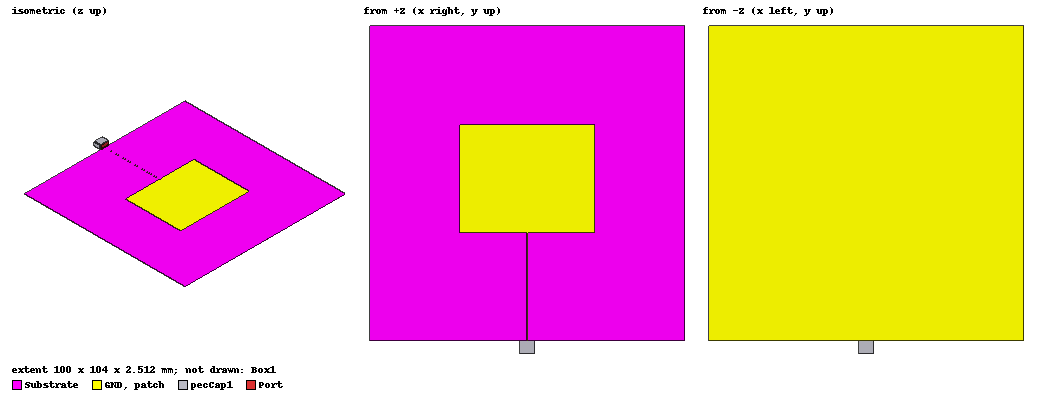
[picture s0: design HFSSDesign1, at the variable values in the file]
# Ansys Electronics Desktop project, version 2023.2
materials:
  vacuum: permittivity=1
  polyimide: permittivity=3.5 dielectric_loss_tangent=0.008
  polyimide JLC: permittivity=3.3 dielectric_loss_tangent=0.008
  copper: permeability=0.999991 conductivity=58000000
  air: permittivity=1.0006 permeability=1.0000004
  pec: conductivity=1e+30
  beryllium: permeability=1.00000079 conductivity=25000000
  skin: permittivity=38.1 conductivity=1.44
  muscle: permittivity=52.8 conductivity=1.71
  bone: permittivity=11.4 conductivity=0.385

design HFSSDesign1 (HFSS, HFSS Modal Network, model units mm)
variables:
  w = 42.624646mm
  l = 34.401747mm
  t = 0.5mm
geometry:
  GND [copper] = box(corner=(-50mm, -50mm, 0mm), size=(100mm, 100mm, 0.012mm))
  Substrate [polyimide JLC] = box(corner=(-50mm, 50mm, 0.012mm), size=(100mm, -100mm, 0.025mm))
  patch [copper] = box(corner=(-w/2, -5.54912667mm-l/2, 0.037mm), size=(w, l, 0.012mm))
  feed = box(corner=(-t/2, 0mm, 0.037mm), size=(t, 2mm, 0.012mm))
  Port = rectangle(corner=(-2.5mm, -50mm, 0.012mm), z_size=2.5mm, x_size=5mm)
  pecCap1 [pec] = sweep_along_normal(Port.face(at (0, -50, 1.262)), length=-4mm)
  Box1 [air] = box(corner=(-200mm, 200mm, 200mm), size=(400mm, -400mm, -400mm))
  cut = box(corner=(-0.5*t, -5.54912667mm-(l/2-1mm), 0.037mm), size=(t, -1mm, 0.012mm))
  patch.subtract(cut)
  Box2 = box(corner=((-0.1715549654/2) mm, -18.75mm, 0.037mm), size=(0.17155497mm, -31.25mm, 0.012mm))
  50line = box(corner=((-0.058862212275309/2) mm, -46mm, 0.037mm), size=(0.058862212mm, -4mm, 0.012mm))
  Box3 = box(corner=(-0.25mm, 4mm, 0.037mm), size=(0.5mm, 0.05mm, 0.012mm))
  Box2.move(0mm, 4mm, 0mm)
  patch.move(0mm, 7mm, 0mm)
  patch.unite(50line, Box2, Box3, feed)
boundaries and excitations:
  PerfE1: Perfect E Objects=patch
  PerfE2: Perfect E Objects=GND
  Rad1: Radiation Objects=Box1
  1: Wave Port Objects=Port WavePortType=Modal NumModes=1 Modes{Mode1{IntLine{(0mm, -50000mm, 24.5mm) -> (0, -50, 2.512)} CharImp=Zpi}}
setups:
  Setup1: HfssDriven Frequency=2.4GHz MaxDeltaS=0.02 MaximumPasses=12 MinimumPasses=1 MinimumConvergedPasses=1 PercentRefinement=30 BasisOrder=1 PortAccuracy=2 DrivenSolverType="Direct Solver"
    sweep Sweep: 1.2GHz to 3.6GHz, 401 points; Type=Fast SaveFields
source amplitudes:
  1:1: 1W 0deg
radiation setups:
  Infinite Sphere1: Infinite Sphere Theta=-180deg..180deg step 2deg Phi=0deg..90deg step 90deg
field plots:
  Mag_E1: E Field over patch.face(+z, -z, -x, +y, +x) on Setup1 : Sweep at Freq=2.304GHz Phase=0deg
  Mag_E2: E Field over patch.face(at (-10.7812, -15.75, 0.043), +z, -z, at (10.7812, -15.75, 0.043), -x, +y, +x, at (-0.25, -15.25, 0.043), at (0.25, -15.25, 0.043)) on Setup1 : Sweep at Freq=2.202GHz Phase=0deg
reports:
  S Parameter Plot 2: dB(S(1,1)) vs Freq on Setup1 : Sweep; markers m1 at 2.334GHz, m2 at 2.328GHz, m3 at 2.202GHz
  Gain Plot 1: dB(GainTotal) vs Theta on Setup1 : LastAdaptive, Infinite Sphere1 [Phi=all Freq=2.4GHz]
  Gain Plot 2: dB(GainTotal) vs Theta on Setup1 : LastAdaptive, Infinite Sphere1 [Phi=all Freq=2.4GHz]
